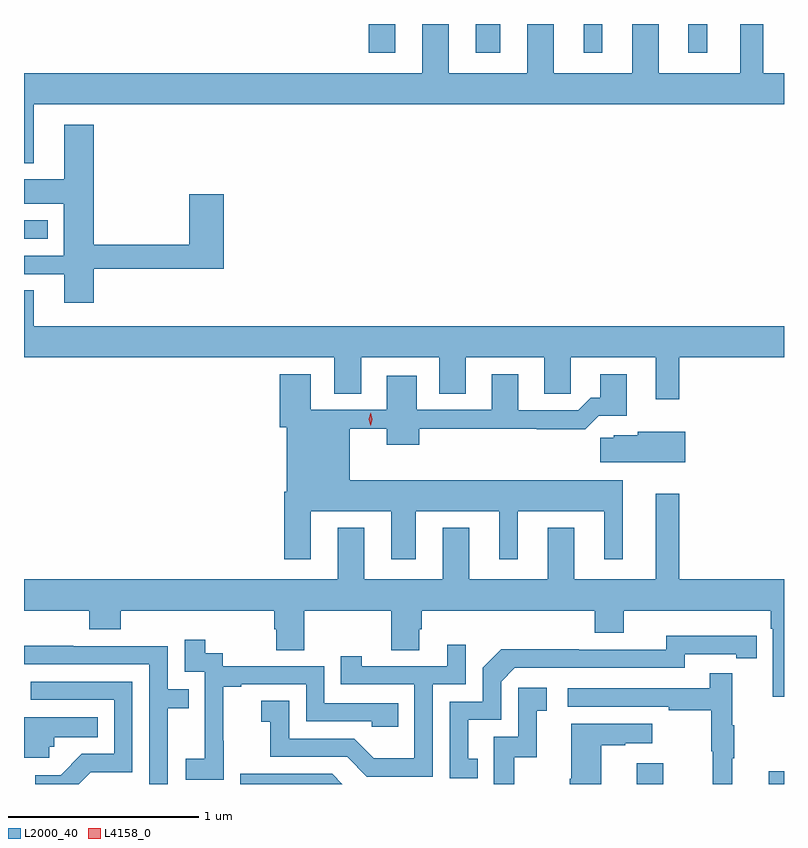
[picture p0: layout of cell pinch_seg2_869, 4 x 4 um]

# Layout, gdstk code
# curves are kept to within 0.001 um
import gdstk
lib = gdstk.Library(unit=1e-6, precision=1e-09)
def R(c, l, rs):  # rectangles x0, y0, x1, y1
    for r in rs: c.add(gdstk.rectangle(r[:2], r[2:], *l))
def P(c, l, *ps):  # polygons
    for p in ps: c.add(gdstk.Polygon(p, *l))
L2000_40 = (2000, 40)
L4158_0 = (4158, 0)

pinch_seg2_869 = lib.new_cell('pinch_seg2_869')
R(pinch_seg2_869, L2000_40, [(409.223,598.771,409.363,598.879), (409.919,598.771,409.999,598.837), (405.999,601.641,406.123,601.737), (407.813,602.619,407.953,602.771), (408.377,602.619,408.505,602.771), (408.944,602.619,409.042,602.771), (409.496,602.619,409.594,602.771)])
P(pinch_seg2_869, L2000_40, [(406.051,602.348),(409.999,602.348),(409.999,602.512),(409.891,602.512),(409.891,602.771),(409.769,602.771),(409.769,602.512),(409.339,602.512),(409.339,602.771),(409.199,602.771),(409.199,602.512),(408.787,602.512),(408.787,602.771),(408.647,602.771),(408.647,602.512),(408.235,602.512),(408.235,602.771),(408.095,602.771),(408.095,602.512),(405.999,602.512),(405.999,602.039),(406.051,602.039)],
  [(406.367,601.482),(407.051,601.482),(407.051,601.876),(406.868,601.876),(406.868,601.61),(406.367,601.61),(406.367,602.242),(406.211,602.242),(406.211,601.954),(405.999,601.954),(405.999,601.826),(406.208,601.826),(406.208,601.551),(405.999,601.551),(405.999,601.455),(406.211,601.455),(406.211,601.305),(406.367,601.305)],
  [(409.447,601.016),(409.999,601.016),(409.999,601.18),(406.051,601.18),(406.051,601.37),(405.999,601.37),(405.999,601.016),(407.633,601.016),(407.633,600.826),(407.773,600.826),(407.773,601.016),(408.185,601.016),(408.185,600.826),(408.325,600.826),(408.325,601.016),(408.737,601.016),(408.737,600.826),(408.876,600.826),(408.876,601.016),(409.325,601.016),(409.325,600.795),(409.447,600.795)],
  [(407.509,600.206),(407.933,600.206),(407.933,599.955),(408.061,599.955),(408.061,600.206),(408.5,600.206),(408.5,599.955),(408.598,599.955),(408.598,600.206),(409.052,600.206),(409.052,599.955),(409.15,599.955),(409.15,600.37),(407.713,600.37),(407.713,600.64),(407.909,600.64),(407.909,600.557),(408.08,600.557),(408.08,600.64),(408.697,600.64),(408.697,600.638),(408.953,600.638),(409.023,600.708),(409.171,600.708),(409.171,600.928),(409.031,600.928),(409.031,600.805),(408.982,600.805),(408.915,600.738),(408.601,600.738),(408.601,600.928),(408.461,600.928),(408.461,600.741),(408.067,600.741),(408.067,600.919),(407.909,600.919),(407.909,600.741),(407.509,600.741),(407.509,600.928),(407.345,600.928),(407.345,600.648),(407.381,600.648),(407.381,600.31),(407.369,600.31),(407.369,599.955),(407.509,599.955)],
  [(409.48,600.625),(409.23,600.625),(409.23,600.607),(409.104,600.607),(409.104,600.593),(409.032,600.593),(409.032,600.464),(409.48,600.464)],
  [(409.999,599.848),(409.447,599.848),(409.447,600.298),(409.325,600.298),(409.325,599.848),(408.895,599.848),(408.895,600.121),(408.755,600.121),(408.755,599.848),(408.343,599.848),(408.343,600.121),(408.203,600.121),(408.203,599.848),(407.791,599.848),(407.791,600.121),(407.651,600.121),(407.651,599.848),(405.999,599.848),(405.999,599.684),(406.343,599.684),(406.343,599.585),(406.508,599.585),(406.508,599.684),(407.315,599.684),(407.315,599.586),(407.327,599.586),(407.327,599.476),(407.475,599.476),(407.475,599.684),(407.932,599.684),(407.932,599.476),(408.079,599.476),(408.079,599.586),(408.092,599.586),(408.092,599.684),(409.004,599.684),(409.004,599.567),(409.156,599.567),(409.156,599.684),(409.928,599.684),(409.928,599.588),(409.941,599.588),(409.941,599.229),(409.999,599.229)],
  [(408.386,598.905),(408.337,598.905),(408.337,599.109),(408.51,599.109),(408.51,599.31),(408.582,599.382),(409.476,599.382),(409.476,599.454),(409.748,599.454),(409.748,599.434),(409.856,599.434),(409.856,599.55),(409.38,599.551),(409.38,599.478),(408.92,599.478),(408.92,599.48),(408.512,599.48),(408.414,599.382),(408.414,599.205),(408.24,599.205),(408.24,598.8),(408.386,598.8)],
  [(407.049,598.999),(407.048,598.999),(407.048,599.283),(407.143,599.283),(407.143,599.295),(407.484,599.295),(407.484,599.1),(407.829,599.1),(407.829,599.073),(407.969,599.073),(407.969,599.196),(407.58,599.196),(407.58,599.391),(407.046,599.391),(407.046,599.46),(406.954,599.46),(406.954,599.53),(406.845,599.53),(406.845,599.361),(406.95,599.361),(406.95,599.132),(406.949,599.132),(406.949,598.903),(406.851,598.903),(406.851,598.793),(407.049,598.793)],
  [(408.15,599.295),(408.324,599.295),(408.324,599.503),(408.227,599.503),(408.227,599.391),(407.776,599.391),(407.776,599.443),(407.665,599.443),(407.665,599.295),(408.054,599.295),(408.054,598.906),(407.84,598.906),(407.736,599.01),(407.394,599.01),(407.394,599.209),(407.247,599.209),(407.247,599.099),(407.296,599.099),(407.296,598.914),(407.699,598.914),(407.804,598.809),(408.15,598.809)],
  [(406.755,599.17),(406.865,599.17),(406.865,599.271),(406.755,599.271),(406.755,599.496),(406.259,599.496),(406.259,599.498),(405.999,599.498),(405.999,599.4),(406.659,599.4),(406.659,598.771),(406.755,598.771)],
  [(409.727,598.907),(409.738,598.907),(409.738,599.081),(409.727,599.081),(409.727,599.353),(409.609,599.353),(409.609,599.274),(408.861,599.274),(408.861,599.178),(409.393,599.178),(409.393,599.158),(409.617,599.158),(409.617,598.944),(409.624,598.944),(409.624,598.771),(409.727,598.771)],
  [(406.35,598.833),(406.569,598.833),(406.569,599.31),(406.035,599.31),(406.035,599.214),(406.473,599.214),(406.473,598.929),(406.304,598.929),(406.193,598.818),(406.059,598.818),(406.059,598.771),(406.287,598.771)],
  [(408.58,598.911),(408.698,598.911),(408.698,599.157),(408.751,599.157),(408.751,599.278),(408.6,599.278),(408.6,599.019),(408.471,599.019),(408.471,598.771),(408.58,598.771)],
  [(406.131,598.968),(406.158,598.968),(406.158,599.018),(406.388,599.018),(406.388,599.122),(405.999,599.122),(405.999,598.91),(406.131,598.91)],
  [(409.036,598.975),(409.163,598.975),(409.163,598.985),(409.306,598.985),(409.306,599.089),(408.878,599.089),(408.878,598.798),(408.871,598.798),(408.871,598.771),(409.036,598.771)],
  [(407.622,598.824),(407.136,598.824),(407.136,598.771),(407.675,598.771)])
P(pinch_seg2_869, L4158_0, [(407.823,600.656),(407.823,600.656),(407.813,600.691),(407.823,600.726),(407.823,600.726),(407.824,600.726),(407.833,600.691),(407.824,600.656)])

lib.write_gds('pinch_seg2_869.gds')
